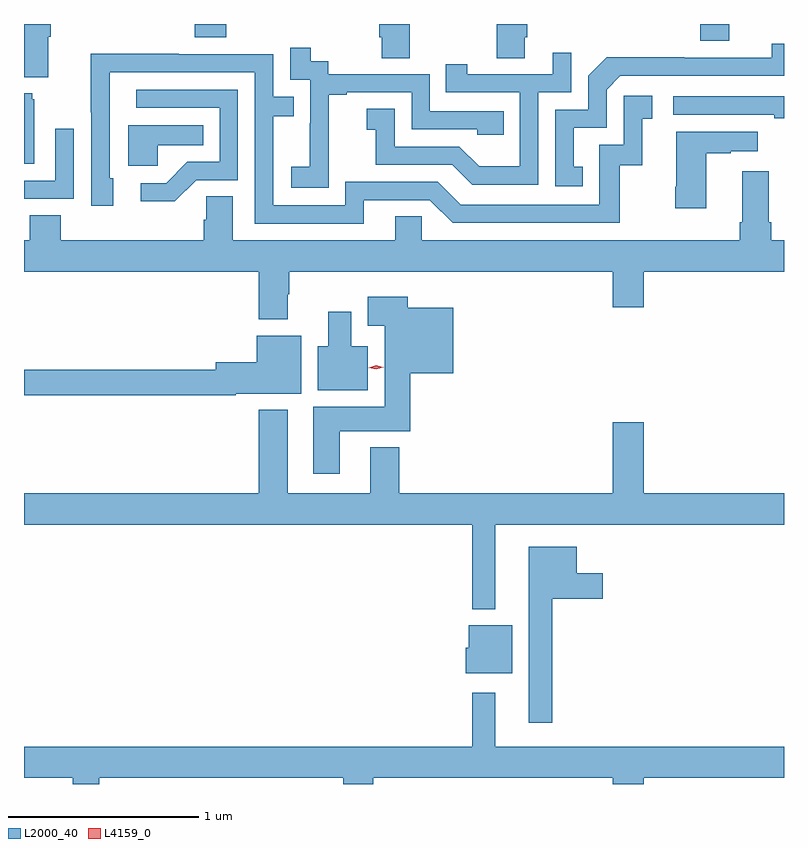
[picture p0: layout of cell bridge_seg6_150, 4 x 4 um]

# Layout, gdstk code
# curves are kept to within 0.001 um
import gdstk
lib = gdstk.Library(unit=1e-6, precision=1e-09)
def R(c, l, rs):  # rectangles x0, y0, x1, y1
    for r in rs: c.add(gdstk.rectangle(r[:2], r[2:], *l))
def P(c, l, *ps):  # polygons
    for p in ps: c.add(gdstk.Polygon(p, *l))
L2000_40 = (2000, 40)
L4159_0 = (4159, 0)

bridge_seg6_150 = lib.new_cell('bridge_seg6_150')
R(bridge_seg6_150, L2000_40, [(573.062,993.839,573.214,993.927), (570.401,993.857,570.566,993.927)])
P(bridge_seg6_150, L2000_40, [(571.533,993.927),(571.373,993.927),(571.373,993.858),(571.385,993.858),(571.385,993.748),(571.533,993.748)],
  [(572.137,993.858),(572.15,993.858),(572.15,993.927),(571.99,993.927),(571.99,993.748),(572.137,993.748)],
  [(569.629,993.86),(569.642,993.86),(569.642,993.927),(569.502,993.927),(569.502,993.647),(569.629,993.647)],
  [(572.444,993.177),(572.395,993.177),(572.395,993.381),(572.568,993.381),(572.568,993.582),(572.64,993.654),(573.502,993.654),(573.502,993.823),(573.438,993.823),(573.438,993.75),(572.978,993.75),(572.978,993.752),(572.57,993.752),(572.472,993.654),(572.472,993.477),(572.298,993.477),(572.298,993.072),(572.444,993.072)],
  [(571.107,993.271),(571.106,993.271),(571.106,993.555),(571.201,993.555),(571.201,993.567),(571.542,993.567),(571.542,993.372),(571.887,993.372),(571.887,993.345),(572.027,993.345),(572.027,993.468),(571.638,993.468),(571.638,993.663),(571.104,993.663),(571.104,993.732),(571.012,993.732),(571.012,993.802),(570.903,993.802),(570.903,993.633),(571.008,993.633),(571.008,993.404),(571.007,993.404),(571.007,993.175),(570.909,993.175),(570.909,993.065),(571.107,993.065)],
  [(572.208,993.567),(572.382,993.567),(572.382,993.775),(572.285,993.775),(572.285,993.663),(571.834,993.663),(571.834,993.715),(571.723,993.715),(571.723,993.567),(572.112,993.567),(572.112,993.178),(571.898,993.178),(571.794,993.282),(571.452,993.282),(571.452,993.481),(571.305,993.481),(571.305,993.371),(571.354,993.371),(571.354,993.186),(571.757,993.186),(571.862,993.081),(572.208,993.081)],
  [(571.291,993),(571.638,993),(571.758,992.88),(572.638,992.88),(572.638,993.183),(572.756,993.183),(572.756,993.429),(572.809,993.429),(572.809,993.55),(572.658,993.55),(572.658,993.291),(572.529,993.291),(572.529,992.976),(571.8,992.976),(571.68,993.096),(571.194,993.096),(571.194,992.973),(570.813,992.973),(570.813,993.442),(570.923,993.442),(570.923,993.543),(570.813,993.543),(570.813,993.768),(570.317,993.768),(570.317,993.77),(569.854,993.77),(569.854,993.463),(569.856,993.463),(569.856,992.97),(569.971,992.97),(569.971,993.114),(569.952,993.114),(569.953,993.672),(570.717,993.672),(570.717,992.877),(571.291,992.877)],
  [(570.408,993.105),(570.627,993.105),(570.627,993.582),(570.093,993.582),(570.093,993.486),(570.531,993.486),(570.531,993.201),(570.362,993.201),(570.251,993.09),(570.117,993.09),(570.117,992.993),(570.295,992.993)],
  [(569.557,993.531),(569.546,993.531),(569.546,993.562),(569.502,993.562),(569.502,993.191),(569.557,993.191)],
  [(573.502,993.546),(572.919,993.546),(572.919,993.45),(573.451,993.45),(573.451,993.43),(573.502,993.43)],
  [(570.207,993.29),(570.446,993.29),(570.446,993.394),(570.05,993.394),(570.05,993.182),(570.207,993.182)],
  [(569.763,993.376),(569.667,993.376),(569.667,993.102),(569.502,993.102),(569.502,993.006),(569.763,993.006)],
  [(573.094,993.247),(573.221,993.247),(573.221,993.257),(573.364,993.257),(573.364,993.361),(572.936,993.361),(572.936,993.07),(572.929,993.07),(572.929,992.958),(573.094,992.958)],
  [(573.281,993.151),(573.281,992.884),(573.269,992.884),(573.269,992.788),(571.596,992.788),(571.596,992.915),(571.457,992.915),(571.457,992.788),(570.601,992.788),(570.601,993.02),(570.462,993.02),(570.462,992.897),(570.449,992.897),(570.449,992.788),(569.696,992.788),(569.696,992.921),(569.531,992.921),(569.531,992.788),(569.502,992.788),(569.502,992.624),(570.737,992.624),(570.737,992.372),(570.889,992.372),(570.889,992.504),(570.897,992.504),(570.897,992.624),(572.6,992.624),(572.6,992.436),(572.764,992.436),(572.764,992.624),(573.502,992.624),(573.502,992.788),(573.434,992.788),(573.434,992.884),(573.421,992.884),(573.421,993.151)],
  [(571.165,991.784),(571.535,991.784),(571.535,992.09),(571.762,992.09),(571.762,992.434),(571.522,992.434),(571.522,992.491),(571.31,992.491),(571.31,992.339),(571.4,992.339),(571.4,991.912),(571.025,991.912),(571.025,991.56),(571.165,991.56)],
  [(571.312,992.23),(571.225,992.23),(571.225,992.413),(571.103,992.413),(571.103,992.23),(571.049,992.23),(571.049,992),(571.312,992)],
  [(570.616,991.982),(570.961,991.982),(570.961,992.287),(570.728,992.287),(570.728,992.148),(570.512,992.148),(570.512,992.108),(569.502,992.108),(569.502,991.972),(570.616,991.972)],
  [(571.981,991.292),(573.502,991.292),(573.502,991.456),(572.764,991.456),(572.764,991.831),(572.6,991.831),(572.6,991.456),(571.478,991.456),(571.478,991.699),(571.325,991.699),(571.325,991.456),(570.889,991.456),(570.889,991.897),(570.737,991.897),(570.737,991.456),(569.502,991.456),(569.502,991.292),(571.86,991.292),(571.86,990.848),(571.981,990.848)],
  [(572.281,990.902),(572.548,990.902),(572.548,991.036),(572.41,991.036),(572.41,991.177),(572.159,991.177),(572.159,990.249),(572.281,990.249)],
  [(572.071,990.763),(571.844,990.763),(571.844,990.645),(571.826,990.645),(571.826,990.509),(572.071,990.509)],
  [(569.899,989.96),(571.181,989.96),(571.181,989.927),(571.341,989.927),(571.341,989.96),(572.6,989.96),(572.6,989.927),(572.764,989.927),(572.764,989.96),(573.502,989.96),(573.502,990.124),(571.981,990.124),(571.981,990.406),(571.86,990.406),(571.86,990.124),(569.502,990.124),(569.502,989.96),(569.759,989.96),(569.759,989.927),(569.899,989.927)])
P(bridge_seg6_150, L4159_0, [(571.356,992.11),(571.317,992.119),(571.317,992.119),(571.317,992.119),(571.356,992.13),(571.394,992.121),(571.395,992.12),(571.394,992.12)])

lib.write_gds('bridge_seg6_150.gds')
